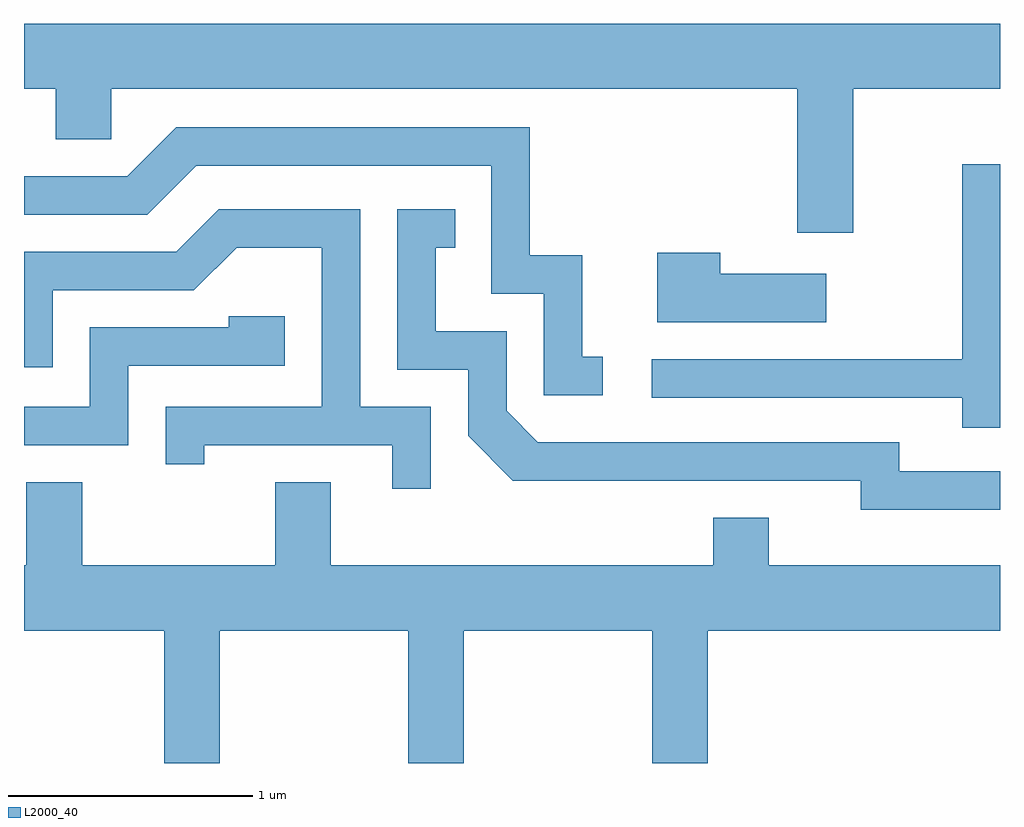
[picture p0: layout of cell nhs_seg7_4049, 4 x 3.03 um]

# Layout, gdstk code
import gdstk
lib = gdstk.Library(unit=1e-6, precision=1e-09)
def P(c, l, *ps):  # polygons
    for p in ps: c.add(gdstk.Polygon(p, *l))
L2000_40 = (2000, 40)

nhs_seg7_4049 = lib.new_cell('nhs_seg7_4049')
P(nhs_seg7_4049, L2000_40, [(313.009,1681.016),(313.611,1681.016),(313.611,1681.284),(309.611,1681.284),(309.611,1681.016),(309.741,1681.016),(309.741,1680.811),(309.969,1680.811),(309.969,1681.016),(312.781,1681.016),(312.781,1680.426),(313.009,1680.426)],
  [(311.983,1679.919),(311.899,1679.919),(311.899,1680.334),(311.684,1680.334),(311.684,1680.859),(310.234,1680.859),(310.034,1680.659),(309.611,1680.659),(309.611,1680.501),(310.117,1680.501),(310.317,1680.701),(311.526,1680.701),(311.526,1680.176),(311.741,1680.176),(311.741,1679.761),(311.983,1679.761)],
  [(313.611,1680.708),(313.456,1680.708),(313.456,1679.909),(312.183,1679.909),(312.183,1679.751),(313.456,1679.751),(313.456,1679.628),(313.611,1679.628)],
  [(311.279,1679.714),(310.989,1679.714),(310.989,1680.524),(310.409,1680.524),(310.234,1680.349),(309.611,1680.349),(309.611,1679.876),(309.729,1679.876),(309.729,1680.191),(310.307,1680.191),(310.482,1680.366),(310.831,1680.366),(310.831,1679.714),(310.191,1679.714),(310.191,1679.478),(310.349,1679.478),(310.349,1679.556),(311.121,1679.556),(311.121,1679.378),(311.279,1679.378)],
  [(313.611,1679.449),(313.199,1679.449),(313.199,1679.569),(311.717,1679.569),(311.589,1679.697),(311.589,1680.024),(311.299,1680.024),(311.299,1680.366),(311.378,1680.366),(311.378,1680.524),(311.141,1680.524),(311.141,1679.866),(311.431,1679.866),(311.431,1679.594),(311.614,1679.411),(313.041,1679.411),(313.041,1679.291),(313.611,1679.291)],
  [(312.899,1680.259),(312.464,1680.259),(312.464,1680.344),(312.206,1680.344),(312.206,1680.061),(312.899,1680.061)],
  [(310.039,1679.881),(310.679,1679.881),(310.679,1680.084),(310.451,1680.084),(310.451,1680.039),(309.881,1680.039),(309.881,1679.714),(309.611,1679.714),(309.611,1679.556),(310.039,1679.556)],
  [(310.869,1679.404),(310.641,1679.404),(310.641,1679.064),(309.849,1679.064),(309.849,1679.404),(309.621,1679.404),(309.621,1679.064),(309.611,1679.064),(309.611,1678.796),(310.186,1678.796),(310.186,1678.252),(310.414,1678.252),(310.414,1678.796),(311.186,1678.796),(311.186,1678.252),(311.414,1678.252),(311.414,1678.796),(312.186,1678.796),(312.186,1678.252),(312.414,1678.252),(312.414,1678.796),(313.611,1678.796),(313.611,1679.064),(312.664,1679.064),(312.664,1679.259),(312.436,1679.259),(312.436,1679.064),(310.869,1679.064)])

lib.write_gds('nhs_seg7_4049.gds')
